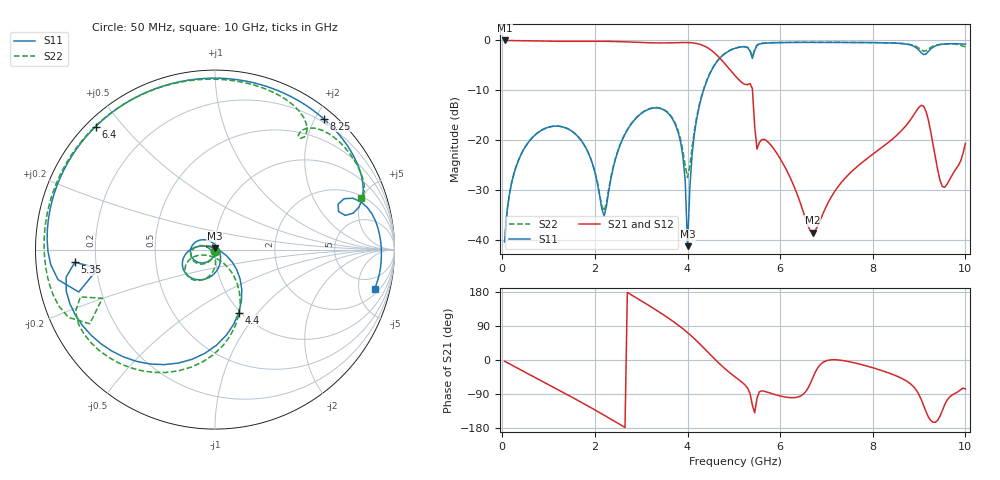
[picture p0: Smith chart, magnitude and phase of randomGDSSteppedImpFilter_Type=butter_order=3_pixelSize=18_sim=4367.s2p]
! freq	dB(S11)	phase(S11)	dB(S12)	phase(S12)
!  dB(S21)	phase(S21)	dB(S22)	phase(S22)
!S-par simulation data
#  GHz  S  DB  R 50
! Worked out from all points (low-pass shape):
!   200 points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, 50 MHz to 10 GHz, reference 50 ohm
!   highest |S21| = -0.01 dB at 50 MHz (marker M1); lowest = -38.6 dB at 6.7 GHz (marker M2)
!   |S21| within 3 dB of the highest: start of sweep to 4.639 GHz
!   lowest |S11| = -41.3 dB at 4 GHz (marker M3), VSWR 1.02, Z = 49.8 + j0.836 ohm
!   |S11| at or under -10 dB: start of sweep to 4.346 GHz
!   |S22| runs from -40.5 to -0.4 dB; largest |S21 - S12| = 0
!   S11 on the Smith chart (normalised r, x): 50 MHz: 1.00, -0.02; 4.4 GHz: 0.98, -0.80; 5.35 GHz: 0.12, -0.04; 6.4 GHz: 0.03, +0.42; 8.25 GHz: 0.15, +2.12; 10 GHz: 2.55, -7.26
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0.05  -40.50 -92.7  -0.01 -3.3  -0.01 -3.3  -40.47 -92.2
0.25  -26.80 -107.2  -0.03 -16.4  -0.03 -16.4  -26.80 -105.5
0.6  -20.03 -131.9  -0.10 -39.2  -0.10 -39.2  -20.03 -127.6
1.75  -20.72 143.7  -0.17 -114.6  -0.17 -114.6  -20.71 166.6
2.2  -35.24 27.5  -0.18 -145.7  -0.18 -145.7  -34.27 -139.2
2.65  -18.82 -83.9  -0.28 -178.0  -0.28 -178.0  -18.74 -94.0
3.4  -13.64 -147.6  -0.51 125.7  -0.51 125.7  -13.56 -139.5
3.85  -20.44 169.4  -0.43 87.2  -0.43 87.2  -19.88 -161.0
3.95  -28.17 153.3  -0.42 77.4  -0.42 77.4  -25.16 -145.0
4  -41.33 102.1  -0.42 72.3  -0.42 72.3  -27.53 -112.4
4.1  -22.71 -27.9  -0.48 61.6  -0.48 61.6  -21.26 -58.2
4.4  -8.51 -69.4  -1.30 25.7  -1.30 25.7  -8.38 -69.4
5.05  -1.52 -145.4  -7.33 -46.7  -7.33 -46.7  -1.47 -134.8
5.35  -2.12 -174.8  -8.65 -88.7  -8.65 -88.7  -1.99 -160.6
5.5  -1.01 -169.2  -21.81 -100.8  -21.81 -100.8  -0.92 -155.1
6.4  -0.40 134.1  -31.72 -97.1  -31.72 -97.1  -0.37 156.1
6.7  -0.39 119.7  -38.58 -48.0  -38.58 -48.0  -0.37 144.0
8.25  -0.47 50.3  -21.12 -30.1  -21.12 -30.1  -0.47 84.4
8.35  -0.49 45.8  -20.40 -34.4  -20.40 -34.4  -0.49 80.4
9.1  -2.85 17.1  -13.23 -120.7  -13.23 -120.7  -2.15 52.5
9.55  -0.72 5.2  -29.50 -119.0  -29.50 -119.0  -0.72 38.3
10  -0.74 -14.0  -20.69 -76.6  -20.69 -76.6  -1.26 19.3
